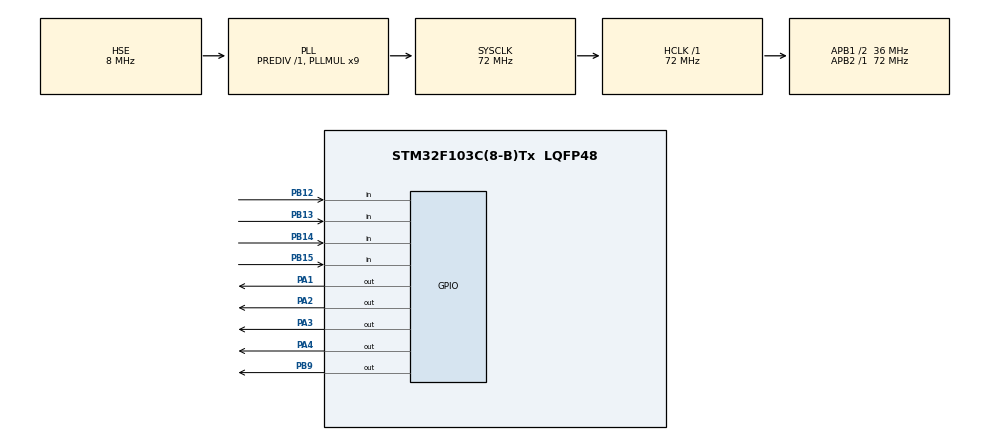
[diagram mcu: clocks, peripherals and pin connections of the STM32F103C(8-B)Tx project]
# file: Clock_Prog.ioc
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Mcu.Family=STM32F1
Mcu.Name=STM32F103C(8-B)Tx
Mcu.Package=LQFP48
NVIC.PriorityGroup=NVIC_PRIORITYGROUP_4
NVIC.TIM1_BRK_IRQn=true\:0\:0\:false\:false\:true\:true\:true
NVIC.TIM1_CC_IRQn=true\:0\:0\:false\:false\:true\:true\:true
NVIC.TIM1_TRG_COM_IRQn=true\:0\:0\:false\:false\:true\:true\:true
NVIC.TIM1_UP_IRQn=true\:0\:0\:false\:false\:true\:true\:true
NVIC.TIM2_IRQn=true\:0\:0\:false\:false\:true\:true\:true
PA1.Signal=GPIO_Output
PA13.Mode=Serial_Wire
PA13.Signal=SYS_JTMS-SWDIO
PA14.Mode=Serial_Wire
PA14.Signal=SYS_JTCK-SWCLK
PA2.Signal=GPIO_Output
PA3.Signal=GPIO_Output
PA4.Signal=GPIO_Output
PB12.Signal=GPIO_Input
PB13.Signal=GPIO_Input
PB14.Signal=GPIO_Input
PB15.Signal=GPIO_Input
PB9.GPIO_PuPd=GPIO_PULLUP
PB9.GPIO_Speed=GPIO_SPEED_FREQ_HIGH
PB9.Signal=GPIO_Output
PC14-OSC32_IN.Mode=LSE-External-Oscillator
PC14-OSC32_IN.Signal=RCC_OSC32_IN
PC15-OSC32_OUT.Mode=LSE-External-Oscillator
PC15-OSC32_OUT.Signal=RCC_OSC32_OUT
PD0-OSC_IN.Mode=HSE-External-Oscillator
PD0-OSC_IN.Signal=RCC_OSC_IN
PD1-OSC_OUT.Mode=HSE-External-Oscillator
PD1-OSC_OUT.Signal=RCC_OSC_OUT
ProjectManager.HeapSize=0x200
ProjectManager.StackSize=0x400
ProjectManager.TargetToolchain=EWARM V8
RCC.AHBFreq_Value=72000000
RCC.APB1CLKDivider=RCC_HCLK_DIV2
RCC.APB1Freq_Value=36000000
RCC.APB1TimFreq_Value=72000000
RCC.APB2Freq_Value=72000000
RCC.APB2TimFreq_Value=72000000
RCC.HCLKFreq_Value=72000000
RCC.PLLMUL=RCC_PLL_MUL9
RCC.PLLSourceVirtual=RCC_PLLSOURCE_HSE
RCC.RTCClockSelection=RCC_RTCCLKSOURCE_LSE
RCC.SYSCLKFreq_VALUE=72000000
RCC.SYSCLKSource=RCC_SYSCLKSOURCE_PLLCLK
RCC.USBFreq_Value=72000000
RTC.Format=RTC_FORMAT_BIN
TIM1.Period=1000
TIM1.Prescaler=7199
TIM2.Period=500
TIM2.Prescaler=7199
VP_RTC_VS_RTC_Activate.Mode=RTC_Enabled
VP_RTC_VS_RTC_Calendar.Mode=RTC_Calendar
VP_TIM1_VS_ClockSourceINT.Mode=Internal
VP_TIM2_VS_ClockSourceINT.Mode=Internal
board=custom

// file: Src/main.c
/* USER CODE BEGIN Header */
/**
  ******************************************************************************
  * @file           : main.c
  * @brief          : Main program body
  ******************************************************************************
  ** This notice applies to any and all portions of this file
  * that are not between comment pairs USER CODE BEGIN and
  * USER CODE END. Other portions of this file, whether
  * inserted by the user or by software development tools
  * are owned by their respective copyright owners.
  *
  * COPYRIGHT(c) 2018 STMicroelectronics
  *
  * Redistribution and use in source and binary forms, with or without modification,
  * are permitted provided that the following conditions are met:
  *   1. Redistributions of source code must retain the above copyright notice,
  *      this list of conditions and the following disclaimer.
  *   2. Redistributions in binary form must reproduce the above copyright notice,
  *      this list of conditions and the following disclaimer in the documentation
  *      and/or other materials provided with the distribution.
  *   3. Neither the name of STMicroelectronics nor the names of its contributors
  *      may be used to endorse or promote products derived from this software
  *      without specific prior written permission.
  *
  * THIS SOFTWARE IS PROVIDED BY THE COPYRIGHT HOLDERS AND CONTRIBUTORS "AS IS"
  * AND ANY EXPRESS OR IMPLIED WARRANTIES, INCLUDING, BUT NOT LIMITED TO, THE
  * IMPLIED WARRANTIES OF MERCHANTABILITY AND FITNESS FOR A PARTICULAR PURPOSE ARE
  * DISCLAIMED. IN NO EVENT SHALL THE COPYRIGHT HOLDER OR CONTRIBUTORS BE LIABLE
  * FOR ANY DIRECT, INDIRECT, INCIDENTAL, SPECIAL, EXEMPLARY, OR CONSEQUENTIAL
  * DAMAGES (INCLUDING, BUT NOT LIMITED TO, PROCUREMENT OF SUBSTITUTE GOODS OR
  * SERVICES; LOSS OF USE, DATA, OR PROFITS; OR BUSINESS INTERRUPTION) HOWEVER
  * CAUSED AND ON ANY THEORY OF LIABILITY, WHETHER IN CONTRACT, STRICT LIABILITY,
  * OR TORT (INCLUDING NEGLIGENCE OR OTHERWISE) ARISING IN ANY WAY OUT OF THE USE
  * OF THIS SOFTWARE, EVEN IF ADVISED OF THE POSSIBILITY OF SUCH DAMAGE.
  *
  ******************************************************************************
  */
/* USER CODE END Header */
#include "main.h"

/* USER CODE BEGIN Includes */

#define Button1 GPIO_PIN_15//B15
#define Button2 GPIO_PIN_14//B14
#define Button3 GPIO_PIN_13//B13
#define Button4 GPIO_PIN_12//B12
#define user_delay(x) (x*10300)//1~1mS  if HCLK to core = 75 MHz  x must be <=?416987
#define alarm_on 1
#define alarm_off 0
//1uS~10,3 cycles
//1mS~10300 cycles
//10mS~103000 cycles
//160ms~1648000 cycles

char alarm_on_off=0;
uint32_t time=0;
uint32_t buffer=0;

uint32_t seconds=0;
uint32_t minutes=22;
uint32_t hours=22;

uint32_t Discharge_selection=1;
uint32_t Discharge_selection_Flag=0;
uint32_t Timer_started_Flag=0;

uint32_t DesHrs=0;
uint32_t EdHrs=0;
uint32_t DesMin=0;
uint32_t EdMin=0;

uint32_t array_numbers[16]=
{
  0xFC, //"0"
  0x30, //"1"
  0x6E,
  0x7A,
  0xB2,
  0xDA,
  0xDE,
  0x70,
  0xFE,
  0xFA,
  0xF6,
  0x9E,
  0xCC,
  0x3E,
  0xCE,
  0xC6
};
uint32_t array_Rotation[6]={0x80,0x04,0x08,0x10,0x20,0x40};
/* USER CODE END Includes */

RTC_HandleTypeDef hrtc;

TIM_HandleTypeDef htim1;
TIM_HandleTypeDef htim2;

/* USER CODE BEGIN PV */
//RTC_TimeTypeDef sTime = {0};
//RTC_DateTypeDef DateToUpdate = {0};
RTC_TimeTypeDef sTime;
RTC_TimeTypeDef user_alarm_Time;
RTC_DateTypeDef sData;
RTC_DateTypeDef DateToUpdate;
/* USER CODE END PV */

void SystemClock_Config(void);
static void MX_GPIO_Init(void);
static void MX_TIM1_Init(void);
static void MX_TIM2_Init(void);
static void MX_RTC_Init(void);
/* USER CODE BEGIN PFP */
void checking_the_buttons_pressed(void);
void rotation_effect(void);
void write_hello(void);
void write_0toF(void);
void write_Fto0(void);
void numbers_selection(void);
void Lath_up_down(void);
void write_time_register(uint32_t value);
uint32_t time_shaper(uint32_t Buff_hours, uint32_t Buff_minutes, uint32_t Buff_seconds);
void delay_without_interruptions(unsigned int ij);//10,3~1us 160ms->ij~1648000
void menu_selection_mode(void);
void numbers_selection(void);
void start_the_alarm_signal(void);
void numbers_selection_signal(void);
void disable_signal(void);
void refresh_time(void);

static void MX_TIM2_Init_50(void);
static void MX_TIM2_Init_100(void);
/* USER CODE END PFP */

int main(void)
{

  /* MCU Configuration--------------------------------------------------------*/

  /* Reset of all peripherals, Initializes the Flash interface and the Systick. */
  HAL_Init();

  /* Configure the system clock */
  SystemClock_Config();

  /* Initialize all configured peripherals */
  //__HAL_RCC_PWR_CLK_ENABLE();
  //HAL_PWR_EnableBkUpAccess();
  //  __HAL_RCC_BKP_CLK_ENABLE();//!!!!!!!!!!!!!!!!!!!!!!!!!!!!!!!!!!!!!!!!!!!!!!!!!!!!!!!!!!!!!!!!!!!!!!!!!!
  //HAL_PWR_EnableBkUpAccess();//!!!!!!!!!!!!!!!!!!!!!!!!!!!!!!!!!!!!!!!!!!!!!!!!!!!!!!!!!!!!!!!!!!!!!!!!!!
  MX_GPIO_Init();
  MX_TIM1_Init();
  MX_TIM2_Init();
  MX_RTC_Init();
  /* USER CODE BEGIN 2 */

  //HAL_TIM_Base_Stop_IT(&htim1);          //stop the timer1
  HAL_TIM_Base_Stop_IT(&htim2);          //stop the timer2
  //__HAL_TIM_CLEAR_IT(&htim1, TIM_IT_UPDATE);//Clear interrupt FUCKING BEATCH!!!
  __HAL_TIM_CLEAR_IT(&htim2, TIM_IT_UPDATE);//Clear interrupt FUCKING BEATCH!!!

  /* USER CODE END 2 */

  /* Infinite loop */
  while (1)
  {

    /* USER CODE BEGIN 3 */

    //####################################################Инициализация сдвиговых регистров или ХЗ чё это
    HAL_GPIO_WritePin(GPIOA, GPIO_PIN_4, GPIO_PIN_RESET);//Reset
    HAL_Delay(5);
    HAL_GPIO_WritePin(GPIOA, GPIO_PIN_1, GPIO_PIN_RESET);//CLK
    HAL_Delay(5);
    HAL_GPIO_WritePin(GPIOA, GPIO_PIN_2, GPIO_PIN_RESET);//DS
    HAL_Delay(5);
    HAL_GPIO_WritePin(GPIOA, GPIO_PIN_3, GPIO_PIN_RESET);//Lath
    HAL_Delay(5);
    HAL_GPIO_WritePin(GPIOA, GPIO_PIN_4, GPIO_PIN_SET);//Reset UP
    HAL_Delay(5);

    HAL_GPIO_WritePin(GPIOA, GPIO_PIN_2, GPIO_PIN_SET);//DS
    HAL_Delay(5);

    HAL_GPIO_WritePin(GPIOA, GPIO_PIN_4, GPIO_PIN_RESET);//Reset DOWN
    HAL_Delay(5);
    Lath_up_down();
    HAL_Delay(5);

    HAL_GPIO_WritePin(GPIOA, GPIO_PIN_4, GPIO_PIN_SET);//Reset UP
    HAL_Delay(5);

    //####################################################Rotation
    rotation_effect();

    while(1)
    {
    //####################################################Checking buttons
    //######Button1#############################
    if( HAL_GPIO_ReadPin(GPIOB, Button1) == 1 )//Если кнопка нажата
    {
        write_hello();
    }
    //######Button2#############################
    if( HAL_GPIO_ReadPin(GPIOB, Button2) == 1 )//Если кнопка нажата
    {
        write_0toF();
    }
    //######Button3#############################
    if( HAL_GPIO_ReadPin(GPIOB, Button3) == 1 )//Если кнопка нажата
    {
        write_Fto0();
    }
    //######Button4#############################MENU
    if( HAL_GPIO_ReadPin(GPIOB, Button4) == 1 )//Если кнопка нажата
    {
        delay_without_interruptions(user_delay(200));
        menu_selection_mode();
    }

    //###################################################Backup time
    //Чтобы время продолжало считать (при подключенной VBAT) даже после отключения питания, надо в функции MX_RTC_Init(); запретить обнулять время!!!

    //###################################################Refresh time
    //HAL_RTCEx_BKUPWrite(&hrtc, RTC_BKP_DR1, 1234);
    refresh_time();

    //###################################################Check the alarm
    //if(AlarmTime==time)
    //start_sound_on_the_10_minutes();
    }

  }
  /* USER CODE END 3 */
}

void SystemClock_Config(void)
{
  RCC_OscInitTypeDef RCC_OscInitStruct = {0};
  RCC_ClkInitTypeDef RCC_ClkInitStruct = {0};
  RCC_PeriphCLKInitTypeDef PeriphClkInit = {0};

  /** Initializes the RCC Oscillators according to the specified parameters
  * in the RCC_OscInitTypeDef structure.
  */
  RCC_OscInitStruct.OscillatorType = RCC_OSCILLATORTYPE_HSE|RCC_OSCILLATORTYPE_LSE;
  RCC_OscInitStruct.HSEState = RCC_HSE_ON;
  RCC_OscInitStruct.HSEPredivValue = RCC_HSE_PREDIV_DIV1;
  RCC_OscInitStruct.LSEState = RCC_LSE_ON;
  RCC_OscInitStruct.HSIState = RCC_HSI_ON;
  RCC_OscInitStruct.PLL.PLLState = RCC_PLL_ON;
  RCC_OscInitStruct.PLL.PLLSource = RCC_PLLSOURCE_HSE;
  RCC_OscInitStruct.PLL.PLLMUL = RCC_PLL_MUL9;
  if (HAL_RCC_OscConfig(&RCC_OscInitStruct) != HAL_OK)
  {
    Error_Handler();
  }
  /** Initializes the CPU, AHB and APB buses clocks
  */
  RCC_ClkInitStruct.ClockType = RCC_CLOCKTYPE_HCLK|RCC_CLOCKTYPE_SYSCLK
                              |RCC_CLOCKTYPE_PCLK1|RCC_CLOCKTYPE_PCLK2;
  RCC_ClkInitStruct.SYSCLKSource = RCC_SYSCLKSOURCE_PLLCLK;
  RCC_ClkInitStruct.AHBCLKDivider = RCC_SYSCLK_DIV1;
  RCC_ClkInitStruct.APB1CLKDivider = RCC_HCLK_DIV2;
  RCC_ClkInitStruct.APB2CLKDivider = RCC_HCLK_DIV1;

  if (HAL_RCC_ClockConfig(&RCC_ClkInitStruct, FLASH_LATENCY_2) != HAL_OK)
  {
    Error_Handler();
  }
  PeriphClkInit.PeriphClockSelection = RCC_PERIPHCLK_RTC;
  PeriphClkInit.RTCClockSelection = RCC_RTCCLKSOURCE_LSE;
  if (HAL_RCCEx_PeriphCLKConfig(&PeriphClkInit) != HAL_OK)
  {
    Error_Handler();
  }
}

static void MX_RTC_Init(void)
{

  RTC_TimeTypeDef sTime;
  RTC_DateTypeDef DateToUpdate = {0};

  /** Initialize RTC Only
  */
  hrtc.Instance = RTC;
  hrtc.Init.AsynchPrediv = RTC_AUTO_1_SECOND;
  hrtc.Init.OutPut = RTC_OUTPUTSOURCE_ALARM;
  if (HAL_RTC_Init(&hrtc) != HAL_OK)
  {
    Error_Handler();
  }

  /** Initialize RTC and set the Time and Date
  */
  /*sTime.Hours = 0;
  sTime.Minutes = 0;
  sTime.Seconds = 0;

  if (HAL_RTC_SetTime(&hrtc, &sTime, RTC_FORMAT_BIN) != HAL_OK)
  {
    Error_Handler();
  }*/
  DateToUpdate.WeekDay = RTC_WEEKDAY_MONDAY;
  DateToUpdate.Month = RTC_MONTH_JANUARY;
  DateToUpdate.Date = 1;
  DateToUpdate.Year = 0;

  if (HAL_RTC_SetDate(&hrtc, &DateToUpdate, RTC_FORMAT_BIN) != HAL_OK)
  {
    Error_Handler();
  }
  /* USER CODE BEGIN RTC_Init 2 */
  HAL_RTC_MspInit(&hrtc);
  /* USER CODE END RTC_Init 2 */

}

static void MX_TIM1_Init(void)
{

  TIM_ClockConfigTypeDef sClockSourceConfig = {0};
  TIM_MasterConfigTypeDef sMasterConfig = {0};

  htim1.Instance = TIM1;
  htim1.Init.Prescaler = 7199;
  htim1.Init.CounterMode = TIM_COUNTERMODE_UP;
  htim1.Init.Period = 1000;
  htim1.Init.ClockDivision = TIM_CLOCKDIVISION_DIV1;
  htim1.Init.RepetitionCounter = 0;
  htim1.Init.AutoReloadPreload = TIM_AUTORELOAD_PRELOAD_DISABLE;
  if (HAL_TIM_Base_Init(&htim1) != HAL_OK)
  {
    Error_Handler();
  }
  sClockSourceConfig.ClockSource = TIM_CLOCKSOURCE_INTERNAL;
  if (HAL_TIM_ConfigClockSource(&htim1, &sClockSourceConfig) != HAL_OK)
  {
    Error_Handler();
  }
  sMasterConfig.MasterOutputTrigger = TIM_TRGO_RESET;
  sMasterConfig.MasterSlaveMode = TIM_MASTERSLAVEMODE_DISABLE;
  if (HAL_TIMEx_MasterConfigSynchronization(&htim1, &sMasterConfig) != HAL_OK)
  {
    Error_Handler();
  }

}

static void MX_TIM2_Init(void)
{

  TIM_ClockConfigTypeDef sClockSourceConfig = {0};
  TIM_MasterConfigTypeDef sMasterConfig = {0};

  htim2.Instance = TIM2;
  htim2.Init.Prescaler = 7199;
  htim2.Init.CounterMode = TIM_COUNTERMODE_UP;
  htim2.Init.Period = 500;
  htim2.Init.ClockDivision = TIM_CLOCKDIVISION_DIV1;
  htim2.Init.AutoReloadPreload = TIM_AUTORELOAD_PRELOAD_DISABLE;
  if (HAL_TIM_Base_Init(&htim2) != HAL_OK)
  {
    Error_Handler();
  }
  sClockSourceConfig.ClockSource = TIM_CLOCKSOURCE_INTERNAL;
  if (HAL_TIM_ConfigClockSource(&htim2, &sClockSourceConfig) != HAL_OK)
  {
    Error_Handler();
  }
  sMasterConfig.MasterOutputTrigger = TIM_TRGO_RESET;
  sMasterConfig.MasterSlaveMode = TIM_MASTERSLAVEMODE_DISABLE;
  if (HAL_TIMEx_MasterConfigSynchronization(&htim2, &sMasterConfig) != HAL_OK)
  {
    Error_Handler();
  }

}

static void MX_GPIO_Init(void)
{
  GPIO_InitTypeDef GPIO_InitStruct = {0};

  /* GPIO Ports Clock Enable */
  __HAL_RCC_GPIOC_CLK_ENABLE();
  __HAL_RCC_GPIOD_CLK_ENABLE();
  __HAL_RCC_GPIOA_CLK_ENABLE();
  __HAL_RCC_GPIOB_CLK_ENABLE();

  /*Configure GPIO pin Output Level */
  HAL_GPIO_WritePin(GPIOA, GPIO_PIN_1|GPIO_PIN_2|GPIO_PIN_3|GPIO_PIN_4, GPIO_PIN_RESET);

  /*Configure GPIO pin Output Level */
  HAL_GPIO_WritePin(GPIOB, GPIO_PIN_9, GPIO_PIN_RESET);

  /*Configure GPIO pins : PA1 PA2 PA3 PA4 */
  GPIO_InitStruct.Pin = GPIO_PIN_1|GPIO_PIN_2|GPIO_PIN_3|GPIO_PIN_4;
  GPIO_InitStruct.Mode = GPIO_MODE_OUTPUT_PP;
  GPIO_InitStruct.Pull = GPIO_NOPULL;
  GPIO_InitStruct.Speed = GPIO_SPEED_FREQ_LOW;
  HAL_GPIO_Init(GPIOA, &GPIO_InitStruct);

  /*Configure GPIO pins : PB12 PB13 PB14 PB15 */
  GPIO_InitStruct.Pin = GPIO_PIN_12|GPIO_PIN_13|GPIO_PIN_14|GPIO_PIN_15;
  GPIO_InitStruct.Mode = GPIO_MODE_INPUT;
  GPIO_InitStruct.Pull = GPIO_NOPULL;
  HAL_GPIO_Init(GPIOB, &GPIO_InitStruct);

  /*Configure GPIO pin : PB9 */
  GPIO_InitStruct.Pin = GPIO_PIN_9;
  GPIO_InitStruct.Mode = GPIO_MODE_OUTPUT_PP;
  GPIO_InitStruct.Pull = GPIO_PULLUP;
  GPIO_InitStruct.Speed = GPIO_SPEED_FREQ_HIGH;
  HAL_GPIO_Init(GPIOB, &GPIO_InitStruct);

}

/* USER CODE BEGIN 4 */
    void refresh_time(void)
    {
      HAL_RTC_GetTime(&hrtc, &sTime, RTC_FORMAT_BIN);
      HAL_RTC_GetDate(&hrtc, &sData, RTC_FORMAT_BIN);
      if(seconds!=sTime.Seconds)
      {
        seconds=sTime.Seconds;
        minutes=sTime.Minutes;
        hours=sTime.Hours;

        time_shaper(hours,minutes,seconds);
        time = buffer;
        write_time_register(time);

        //checking the alarm
        if(alarm_on_off&&
           //(seconds==user_alarm_Time.Seconds)&&
             (minutes==user_alarm_Time.Minutes)&&
               (hours==user_alarm_Time.Hours))
        {start_the_alarm_signal();}
      }
    }

void delay_without_interruptions(unsigned int ij)//unsigned int ij=user_delay(x)
{
    while(ij)
    {--ij;}
}

uint32_t time_shaper(uint32_t Buff_hours, uint32_t Buff_minutes, uint32_t Buff_seconds)
{
//#######################################################################_HOURS
if (Buff_hours<=9)//0..9 hours
  {
    buffer=array_numbers[Buff_hours];
    buffer=(buffer<<8);
  }
if ((Buff_hours>9)&&(Buff_hours<=19))//10..19 hours
  {
    buffer=0x30;//"1"
    buffer=(buffer<<8);
    buffer+=array_numbers[Buff_hours-10];
    buffer=(buffer<<8);
  }
if (Buff_hours>19)//20..23 hours
  {
    buffer=0x6E;//"2"
    buffer=(buffer<<8);
    buffer+=array_numbers[Buff_hours-20];
    buffer=(buffer<<8);
  }
//#######################################################################_MINUTES

buffer+=array_numbers[(Buff_minutes)/10];//dozens
buffer=(buffer<<8);
buffer+=array_numbers[Buff_minutes%10];//units

//#######################################################################_SECONDS
//empty
return 0;
}

  void rotation_effect(void)//######Rotation
        {
        for(int jk=0;jk<7;jk++)
        {
        buffer |= array_Rotation[jk];
        buffer =(buffer<<24);
        write_time_register(buffer);
        buffer =(buffer>>24);
        HAL_Delay(60);
        }
        buffer =(buffer<<8);
        HAL_Delay(80);

        for(int jk=0;jk<7;jk++)
        {
        buffer |= array_Rotation[jk];
        buffer =(buffer<<16);
        write_time_register(buffer);
        buffer =(buffer>>16);
        HAL_Delay(60);
        }
        buffer =(buffer<<8);
        HAL_Delay(80);

        for(int jk=0;jk<7;jk++)
        {
        buffer |= array_Rotation[jk];
        buffer =(buffer<<8);
        write_time_register(buffer);
        buffer =(buffer>>8);
        HAL_Delay(60);
        }
        buffer =(buffer<<8);
        HAL_Delay(80);

        for(int jk=0;jk<7;jk++)
        {
        buffer |= array_Rotation[jk];
        write_time_register(buffer);
        HAL_Delay(60);
        }
        HAL_Delay(80);
        }

static void MX_TIM2_Init_50(void)
{

  /* USER CODE BEGIN TIM2_Init 0 */

  /* USER CODE END TIM2_Init 0 */

  TIM_ClockConfigTypeDef sClockSourceConfig = {0};
  TIM_MasterConfigTypeDef sMasterConfig = {0};

  /* USER CODE BEGIN TIM2_Init 1 */

  /* USER CODE END TIM2_Init 1 */
  htim2.Instance = TIM2;
  htim2.Init.Prescaler = 7199;
  htim2.Init.CounterMode = TIM_COUNTERMODE_UP;
  htim2.Init.Period = 500;
  htim2.Init.ClockDivision = TIM_CLOCKDIVISION_DIV1;
  htim2.Init.AutoReloadPreload = TIM_AUTORELOAD_PRELOAD_DISABLE;
  if (HAL_TIM_Base_Init(&htim2) != HAL_OK)
  {
    Error_Handler();
  }
  sClockSourceConfig.ClockSource = TIM_CLOCKSOURCE_INTERNAL;
  if (HAL_TIM_ConfigClockSource(&htim2, &sClockSourceConfig) != HAL_OK)
  {
    Error_Handler();
  }
  sMasterConfig.MasterOutputTrigger = TIM_TRGO_RESET;
  sMasterConfig.MasterSlaveMode = TIM_MASTERSLAVEMODE_DISABLE;
  if (HAL_TIMEx_MasterConfigSynchronization(&htim2, &sMasterConfig) != HAL_OK)
  {
    Error_Handler();
  }
  /* USER CODE BEGIN TIM2_Init 2 */

  /* USER CODE END TIM2_Init 2 */

}

void Lath_up_down(void)
{
    HAL_GPIO_WritePin(GPIOA, GPIO_PIN_3, GPIO_PIN_SET);  //Lath UP
    //HAL_Delay(5);
    HAL_GPIO_WritePin(GPIOA, GPIO_PIN_3, GPIO_PIN_RESET);//Lath DOWN
    //HAL_Delay(5);
}
void write_time_register(uint32_t value)
{
  for(int i=0; i<32; i++)
  {
    if((value&0x01)==0x01)
    {
      HAL_GPIO_WritePin(GPIOA, GPIO_PIN_2, GPIO_PIN_SET);//DS UP
    }
    else
    {
      HAL_GPIO_WritePin(GPIOA, GPIO_PIN_2, GPIO_PIN_RESET);//DS DOWN
    }
    //HAL_Delay(5);
    HAL_GPIO_WritePin(GPIOA, GPIO_PIN_1, GPIO_PIN_SET);   //CLK UP
    //HAL_Delay(5);
    HAL_GPIO_WritePin(GPIOA, GPIO_PIN_1, GPIO_PIN_RESET); //CLK DOWN
    //HAL_Delay(5);

    value=(value>>1);
  }
  Lath_up_down();
}

      void write_hello(void)
      {
        for(int jk=0;jk<4;jk++)
        {
        buffer = 0xB6CEB4FC;//"Hello"
        time = buffer;
        write_time_register(time);
        HAL_Delay(250);

        buffer = 0x00;//
        time = buffer;//"0000"
        write_time_register(time);
        HAL_Delay(450);
        }
      }

      void write_0toF(void)
        {
        for(int jk=0;jk<16;jk++)
        {
        buffer=0;

            for(int p=0;p<3;p++)
            {
              buffer += array_numbers[jk];//"0-F"
              buffer = (buffer<<8);
            }
        buffer += array_numbers[jk];//"0-F"
        time = buffer;
        write_time_register(time);
        HAL_Delay(100);

        time = 0x00;
        write_time_register(time);
        delay_without_interruptions(user_delay(160));//~160mS
        }
        }

      void write_Fto0(void)
      {
      for(int jk=16;jk!=0;jk--)
        {
        buffer=0;

            for(int p=0;p<3;p++)
            {
              buffer += array_numbers[jk-1];//"F-0"
              buffer = (buffer<<8);
            }
        buffer += array_numbers[jk-1];//"F-0"
        time = buffer;
        write_time_register(time);
        HAL_Delay(100);

        time = 0x00;
        write_time_register(time);
        delay_without_interruptions(user_delay(160));//~160mS
        }
      }

//numbers selection
  void numbers_selection(void)
      {
        while(HAL_GPIO_ReadPin(GPIOB, Button4) == 1)//Ждать отжатия кнопки
        {;}
        delay_without_interruptions(user_delay(250));//~250mS

        Timer_started_Flag=0;//for blinking
        //####Launch menu####
        while(HAL_GPIO_ReadPin(GPIOB, Button4) == 0)//While the button do not press
        {
            //####Menu B3####Select
            if(HAL_GPIO_ReadPin(GPIOB, Button3) == 1 )//Button 3 pressed
            {
                Discharge_selection++;
                if(Discharge_selection>4)
                {Discharge_selection=1;}

             while(HAL_GPIO_ReadPin(GPIOB, Button3) == 1)//Ждать отжатия кнопки
             {;}
             delay_without_interruptions(user_delay(250));//~250mS
            }
            //####Menu B2####--
            if(HAL_GPIO_ReadPin(GPIOB, Button2) == 1 )//Button 2 pressed
            {
                if(Discharge_selection==1)
                {
                  if((hours/10)>0)
                  {DesHrs--;}
                }

                if(Discharge_selection==2)
                {
                  if((hours%10)>0)
                  {EdHrs--;}
                }

                if(Discharge_selection==3)
                {
                  if((minutes/10)>0)
                  {DesMin--;}
                }
                if(Discharge_selection==4)
                {
                  if((minutes%10)>0)
                  {EdMin--;}
                }

             while(HAL_GPIO_ReadPin(GPIOB, Button2) == 1)//Ждать отжатия кнопки
             {;}
             delay_without_interruptions(user_delay(250));//~250mS

             hours=DesHrs*10+EdHrs;
             minutes=DesMin*10+EdMin;
             seconds=0;

             time_shaper(hours,minutes,seconds);
             write_time_register(buffer);
            }
            //####Menu B1####++
             if( HAL_GPIO_ReadPin(GPIOB, Button1) == 1 )//Button 1 pressed
            {
                if(Discharge_selection==1)
                {
                  if((hours/10)<2)
                  {DesHrs++;}
                  if((DesHrs*10+EdHrs)>23)
                  {EdHrs=0;}
                }

                if(Discharge_selection==2)
                {
                  if(((hours/10)<2)&&((hours%10)<9))
                  {EdHrs++;}
                  if(((hours/10)==2)&&((hours%10)<3))
                  {EdHrs++;}
                }

                if(Discharge_selection==3)
                {
                  if((minutes/10)<5)
                  {DesMin++;}
                }
                if(Discharge_selection==4)
                {
                  if((minutes%10)<9)
                  {EdMin++;}
                }

                while(HAL_GPIO_ReadPin(GPIOB, Button1) == 1)//Ждать отжатия кнопки
                {;}
                delay_without_interruptions(user_delay(250));//~250mS

             hours=DesHrs*10+EdHrs;
             minutes=DesMin*10+EdMin;
             seconds=0;

             time_shaper(hours,minutes,seconds);
             write_time_register(buffer);
            }
            //#####################Blinking
            if(Timer_started_Flag==0)
            {
            Timer_started_Flag=1;
              if(Discharge_selection_Flag==1)
              {
                MX_TIM2_Init_50();                     //init timer_2
                __HAL_TIM_CLEAR_IT(&htim2, TIM_IT_UPDATE);//Clear interrupt FUCKING BEATCH!!!
                HAL_TIM_Base_Start_IT(&htim2);          //start timer_2
              }

              if(Discharge_selection_Flag==0)
              {
                MX_TIM2_Init_100();                     //init timer_2
                __HAL_TIM_CLEAR_IT(&htim2, TIM_IT_UPDATE);//Clear interrupt FUCKING BEATCH!!!
                HAL_TIM_Base_Start_IT(&htim2);          //start timer_2
              }
            }
        }
            HAL_TIM_Base_Stop_IT(&htim2);          //stop the timer2
            __HAL_TIM_CLEAR_IT(&htim2, TIM_IT_UPDATE);//Clear interrupt FUCKING BEATCH!!!
      }

static void MX_TIM2_Init_100(void)
{

  /* USER CODE BEGIN TIM2_Init 0 */

  /* USER CODE END TIM2_Init 0 */

  TIM_ClockConfigTypeDef sClockSourceConfig = {0};
  TIM_MasterConfigTypeDef sMasterConfig = {0};

  /* USER CODE BEGIN TIM2_Init 1 */

  /* USER CODE END TIM2_Init 1 */
  htim2.Instance = TIM2;
  htim2.Init.Prescaler = 7199;
  htim2.Init.CounterMode = TIM_COUNTERMODE_UP;
  htim2.Init.Period = 500;
  htim2.Init.ClockDivision = TIM_CLOCKDIVISION_DIV1;
  htim2.Init.AutoReloadPreload = TIM_AUTORELOAD_PRELOAD_DISABLE;
  if (HAL_TIM_Base_Init(&htim2) != HAL_OK)
  {
    Error_Handler();
  }
  sClockSourceConfig.ClockSource = TIM_CLOCKSOURCE_INTERNAL;
  if (HAL_TIM_ConfigClockSource(&htim2, &sClockSourceConfig) != HAL_OK)
  {
    Error_Handler();
  }
  sMasterConfig.MasterOutputTrigger = TIM_TRGO_RESET;
  sMasterConfig.MasterSlaveMode = TIM_MASTERSLAVEMODE_DISABLE;
  if (HAL_TIMEx_MasterConfigSynchronization(&htim2, &sMasterConfig) != HAL_OK)
  {
    Error_Handler();
  }
  /* USER CODE BEGIN TIM2_Init 2 */

  /* USER CODE END TIM2_Init 2 */

}

        void menu_selection_mode(void)
    {
        unsigned int press_duration=0;
        while((HAL_GPIO_ReadPin(GPIOB, Button4) == 1)&&(press_duration<4294967295))//how long the button is pressing?
        {
          ++press_duration;
          if(press_duration>4090000)//alarm off
            {
              numbers_selection_signal();//Звук отключения будильника
              numbers_selection_signal();//
              numbers_selection_signal();//
              numbers_selection_signal();//
              alarm_on_off=alarm_off;//disable the alarm
              break;
            }
        }

        if((press_duration>1030000)&&(press_duration<=4090000))//alarm setting
          {
            DesHrs=user_alarm_Time.Hours/10;//восстаноаление цифр
            EdHrs=user_alarm_Time.Hours%10;
            DesMin=user_alarm_Time.Minutes/10;
            EdMin=user_alarm_Time.Minutes%10;
            hours=DesHrs*10+EdHrs;
            minutes=DesMin*10+EdMin;
            seconds=0;
            time_shaper(hours,minutes,seconds);
            write_time_register(buffer);

            numbers_selection_signal();//Звук начала установки будильника
            numbers_selection_signal();//a single sound signal
            numbers_selection();//alarm setting

            user_alarm_Time.Seconds=seconds;
            user_alarm_Time.Minutes=minutes;
            user_alarm_Time.Hours=hours;
            alarm_on_off=alarm_on;//enable the alarm
            numbers_selection_signal();//Звук выхода из установки будильника
            numbers_selection_signal();
          }
        else if(press_duration<=1030000)
          {
            DesHrs=hours/10;//восстаноаление цифр
            EdHrs=hours%10;
            DesMin=minutes/10;
            EdMin=minutes%10;

            numbers_selection_signal();//Звук начала установки времени
            numbers_selection();
            //###########################################SET TIME
            sTime.Seconds=seconds;
            sTime.Minutes=minutes;
            sTime.Hours=hours;
            HAL_RTC_SetTime(&hrtc, &sTime, RTC_FORMAT_BIN);

            time_shaper(hours,minutes,seconds);
            time = buffer;
            write_time_register(time);
            numbers_selection_signal();//Звук выхода из установки времени
          }

          while(HAL_GPIO_ReadPin(GPIOB, Button4) == 1)//Ждать отжатия кнопки
          {;}
          delay_without_interruptions(user_delay(250));//~250mS игнорирование дребезга контактов
    }

void disable_signal(void)
{
    //####################################################Sound signal
    HAL_GPIO_WritePin(GPIOB, GPIO_PIN_9, GPIO_PIN_SET);
    delay_without_interruptions(user_delay(200));
    HAL_GPIO_WritePin(GPIOB, GPIO_PIN_9, GPIO_PIN_RESET);
    delay_without_interruptions(user_delay(600));

    HAL_GPIO_WritePin(GPIOB, GPIO_PIN_9, GPIO_PIN_SET);
    delay_without_interruptions(user_delay(100));
    HAL_GPIO_WritePin(GPIOB, GPIO_PIN_9, GPIO_PIN_RESET);
    delay_without_interruptions(user_delay(200));

    HAL_GPIO_WritePin(GPIOB, GPIO_PIN_9, GPIO_PIN_SET);
    delay_without_interruptions(user_delay(100));
    HAL_GPIO_WritePin(GPIOB, GPIO_PIN_9, GPIO_PIN_RESET);

}
void numbers_selection_signal(void)
{
    HAL_GPIO_WritePin(GPIOB, GPIO_PIN_9, GPIO_PIN_SET);
    delay_without_interruptions(user_delay(80));
    HAL_GPIO_WritePin(GPIOB, GPIO_PIN_9, GPIO_PIN_RESET);
    delay_without_interruptions(user_delay(80));
}

void start_the_alarm_signal(void)
{
    HAL_GPIO_WritePin(GPIOB, GPIO_PIN_9, GPIO_PIN_SET);
    delay_without_interruptions(user_delay(80));
    HAL_GPIO_WritePin(GPIOB, GPIO_PIN_9, GPIO_PIN_RESET);
    delay_without_interruptions(user_delay(80));

    HAL_GPIO_WritePin(GPIOB, GPIO_PIN_9, GPIO_PIN_SET);
    delay_without_interruptions(user_delay(80));
    HAL_GPIO_WritePin(GPIOB, GPIO_PIN_9, GPIO_PIN_RESET);
    delay_without_interruptions(user_delay(200));
}
/* USER CODE END 4 */

void Error_Handler(void)
{
}

/************************ (C) COPYRIGHT STMicroelectronics *****END OF FILE****/
